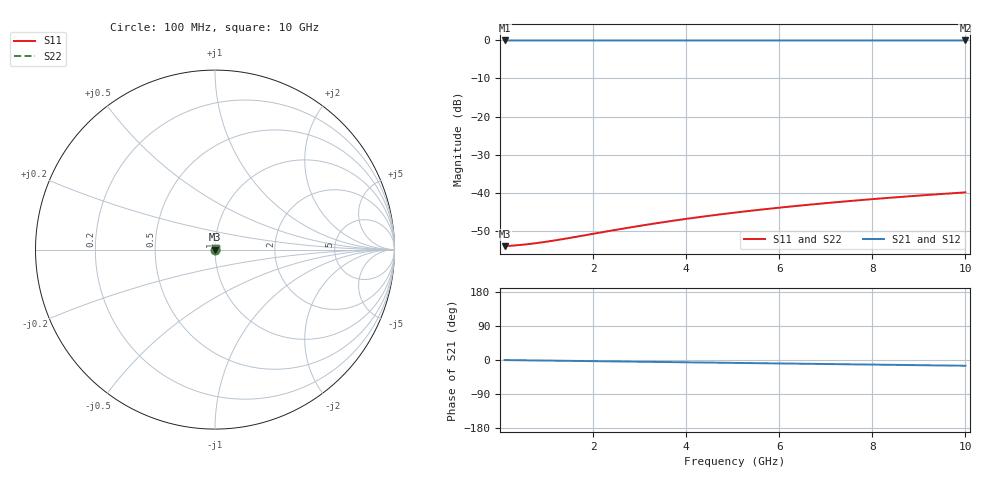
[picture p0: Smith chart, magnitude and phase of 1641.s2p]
# Hz S RI R 50.00
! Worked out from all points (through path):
!   100 points, 100 MHz to 10 GHz, reference 50 ohm
!   highest |S21| = -0.02 dB at 100 MHz (marker M1); lowest = 0.0 dB at 10 GHz (marker M2)
!   group delay of S21, straight-line fit = 4.21 ps
!   lowest |S11| = -54.0 dB at 100 MHz (marker M3), VSWR 1.00, Z = 50.2 + j0.00966 ohm
!   |S11| at or under -10 dB: start of sweep to end of sweep
!   |S22| runs from -54.0 to -39.9 dB; largest |S21 - S12| = 0
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1e8  0.00199 9.62e-05  0.998 -0.00263  0.998 -0.00263  0.00199 9.62e-05
3e8  0.00201 0.000288  0.998 -0.0079  0.998 -0.0079  0.00201 0.000288
5e8  0.00203 0.00048  0.9979 -0.0132  0.9979 -0.0132  0.00203 0.00048
8e8  0.00205 0.000768  0.9977 -0.0211  0.9977 -0.0211  0.00205 0.000768
1e9  0.00207 0.00096  0.9976 -0.0263  0.9976 -0.0263  0.00207 0.00096
1.2e9  0.00208 0.00115  0.9974 -0.0316  0.9974 -0.0316  0.00208 0.00115
1.5e9  0.00211 0.00144  0.9971 -0.0395  0.9971 -0.0395  0.00211 0.00144
1.8e9  0.00214 0.00172  0.9968 -0.0474  0.9968 -0.0474  0.00214 0.00172
2.7e9  0.00226 0.00257  0.9953 -0.071  0.9953 -0.071  0.00226 0.00257
3.1e9  0.00233 0.00295  0.9945 -0.0816  0.9945 -0.0816  0.00233 0.00295
3.4e9  0.00238 0.00323  0.9938 -0.0894  0.9938 -0.0894  0.00238 0.00323
3.8e9  0.00246 0.0036  0.9928 -0.0999  0.9928 -0.0999  0.00246 0.0036
4.2e9  0.00254 0.00397  0.9917 -0.1104  0.9917 -0.1104  0.00254 0.00397
4.6e9  0.00264 0.00434  0.9904 -0.1209  0.9904 -0.1209  0.00264 0.00434
5.1e9  0.00276 0.0048  0.9887 -0.134  0.9887 -0.134  0.00276 0.0048
5.5e9  0.00288 0.00516  0.9872 -0.1444  0.9872 -0.1444  0.00288 0.00516
5.9e9  0.00299 0.00552  0.9856 -0.1549  0.9856 -0.1549  0.00299 0.00552
6.7e9  0.00325 0.00622  0.9821 -0.1757  0.9821 -0.1757  0.00325 0.00622
7.5e9  0.00354 0.00692  0.9781 -0.1965  0.9781 -0.1965  0.00354 0.00692
8.4e9  0.0039 0.00768  0.9731 -0.2198  0.9731 -0.2198  0.0039 0.00768
9.2e9  0.00426 0.00834  0.9682 -0.2403  0.9682 -0.2403  0.00426 0.00834
1e10  0.00464 0.00899  0.9628 -0.2609  0.9628 -0.2609  0.00464 0.00899
